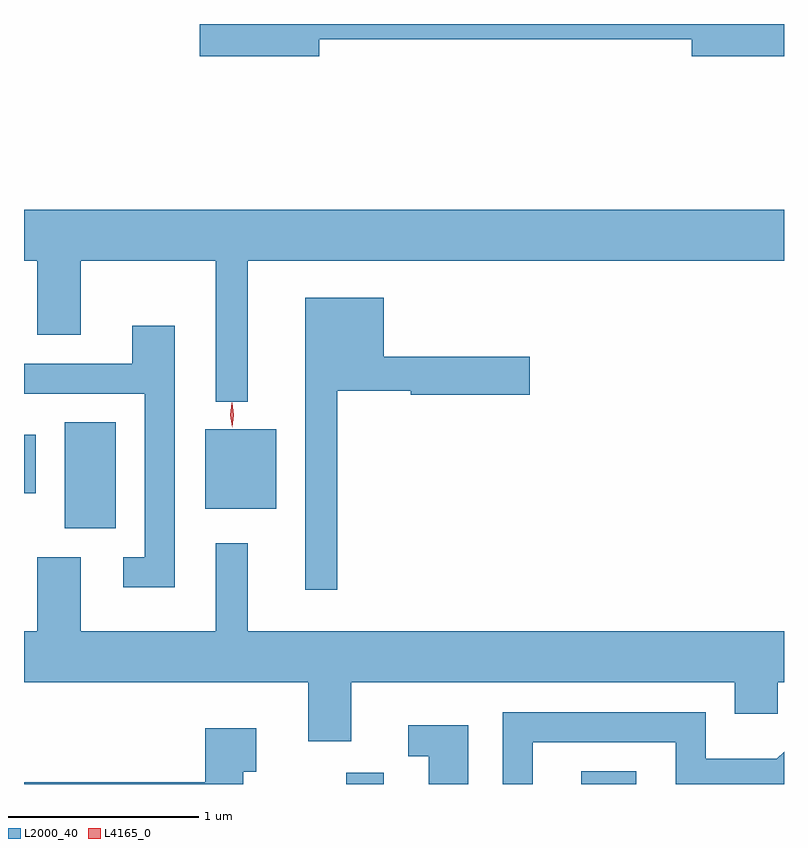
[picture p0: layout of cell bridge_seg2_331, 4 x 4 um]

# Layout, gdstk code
import gdstk
lib = gdstk.Library(unit=1e-6, precision=1e-09)
def R(c, l, rs):  # rectangles x0, y0, x1, y1
    for r in rs: c.add(gdstk.rectangle(r[:2], r[2:], *l))
def P(c, l, *ps):  # polygons
    for p in ps: c.add(gdstk.Polygon(p, *l))
L2000_40 = (2000, 40)
L4165_0 = (4165, 0)

bridge_seg2_331 = lib.new_cell('bridge_seg2_331')
R(bridge_seg2_331, L2000_40, [(445.806,992.281,446.004,992.339), (447.043,992.281,447.334,992.349), (444.326,993.626,444.594,994.184), (445.066,993.731,445.439,994.149), (444.111,993.811,444.174,994.119)])
P(bridge_seg2_331, L2000_40, [(445.664,996.201),(447.626,996.201),(447.626,996.111),(448.111,996.111),(448.111,996.281),(445.036,996.281),(445.036,996.111),(445.664,996.111)],
  [(445.289,995.036),(448.111,995.036),(448.111,995.304),(444.111,995.304),(444.111,995.036),(444.181,995.036),(444.181,994.646),(444.409,994.646),(444.409,995.036),(445.121,995.036),(445.121,994.293),(445.289,994.293)],
  [(445.759,994.351),(446.146,994.351),(446.146,994.331),(446.774,994.331),(446.774,994.529),(446.004,994.529),(446.004,994.839),(445.591,994.839),(445.591,993.303),(445.759,993.303)],
  [(444.904,994.694),(444.681,994.694),(444.681,994.494),(444.111,994.494),(444.111,994.336),(444.746,994.336),(444.746,993.474),(444.633,993.474),(444.633,993.316),(444.904,993.316)],
  [(445.834,992.816),(447.851,992.816),(447.851,992.651),(448.079,992.651),(448.079,992.816),(448.111,992.816),(448.111,993.084),(445.289,993.084),(445.289,993.548),(445.121,993.548),(445.121,993.084),(444.409,993.084),(444.409,993.474),(444.181,993.474),(444.181,993.084),(444.111,993.084),(444.111,992.816),(445.606,992.816),(445.606,992.506),(445.834,992.506)],
  [(446.789,992.501),(447.541,992.501),(447.541,992.281),(448.111,992.281),(448.111,992.451),(448.074,992.414),(447.699,992.414),(447.699,992.659),(446.631,992.659),(446.631,992.281),(446.789,992.281)],
  [(446.449,992.589),(446.133,992.589),(446.133,992.426),(446.241,992.426),(446.241,992.281),(446.449,992.281)],
  [(445.264,992.346),(445.334,992.346),(445.334,992.574),(445.066,992.574),(445.066,992.289),(444.111,992.289),(444.111,992.281),(445.264,992.281)])
P(bridge_seg2_331, L4165_0, [(445.207,994.158),(445.207,994.159),(445.196,994.223),(445.205,994.287),(445.205,994.287),(445.206,994.287),(445.216,994.223),(445.208,994.159)])

lib.write_gds('bridge_seg2_331.gds')
